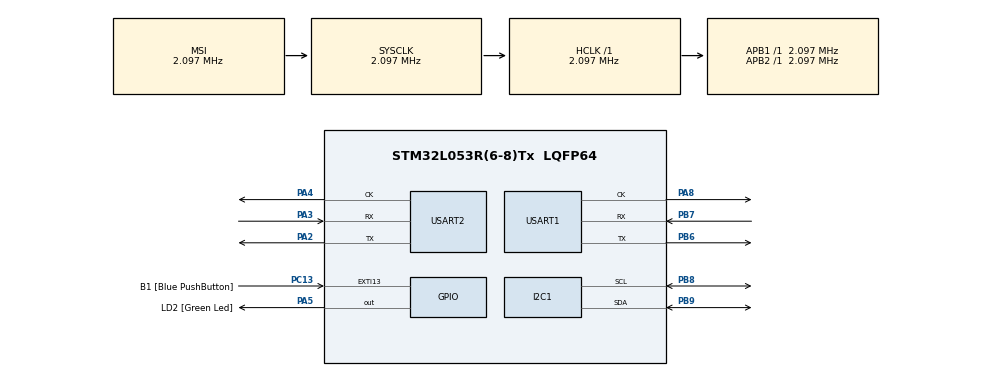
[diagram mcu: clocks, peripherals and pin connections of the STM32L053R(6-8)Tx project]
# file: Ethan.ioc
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Mcu.Family=STM32L0
RCC.MSI_VALUE=2097000
PC15-OSC32_OUT.Mode=LSE-External-Oscillator
PH0-OSC_IN.Signal=RCC_OSC_IN
PC13.Signal=GPXTI13
PA14.GPIO_Label=TCK
USART1.VirtualMode-Synchronous=VM_SYNC
PC13.GPIO_Label=B1 [Blue PushButton]
PC14-OSC32_IN.Signal=RCC_OSC32_IN
ProjectManager.StackSize=0x400
PA3.Mode=Synchronous
PA13.Signal=SYS_SWDIO
RCC.HSI16_VALUE=16000000
USART2.VirtualMode-Synchronous=VM_SYNC
PA4.Mode=Synchronous
ProjectManager.TargetToolchain=STM32CubeIDE
PB9.Mode=I2C
RCC.APB2TimFreq_Value=2097000
PB6.Signal=USART1_TX
PB6.Mode=Synchronous
PC15-OSC32_OUT.Signal=RCC_OSC32_OUT
RCC.AHBFreq_Value=2097000
PH0-OSC_IN.Mode=HSE-External-Clock-Source
PA5.Signal=GPIO_Output
RCC.HSE_VALUE=8000000
board=NUCLEO-L053R8
RCC.VCOOutputFreq_Value=48000000
RCC.APB2Freq_Value=2097000
PC14-OSC32_IN.Mode=LSE-External-Oscillator
PA14.Mode=Serial_Wire
PH1-OSC_OUT.Signal=RCC_OSC_OUT
PB7.Signal=USART1_RX
PA8.Signal=USART1_CK
PA13.Mode=Serial_Wire
Mcu.Name=STM32L053R(6-8)Tx
PA2.Signal=USART2_TX
PA13.GPIO_Label=TMS
PA4.Signal=USART2_CK
RCC.SYSCLKFreq_VALUE=2097000
Mcu.Package=LQFP64
PB9.Signal=I2C1_SDA
PA5.GPIO_Label=LD2 [Green Led]
PC13.GPIO_ModeDefaultEXTI=GPIO_MODE_IT_FALLING
PB7.Mode=Synchronous
PA14.Signal=SYS_SWCLK
ProjectManager.HeapSize=0x200
RCC.HSI_VALUE=16000000
PB8.Mode=I2C
RCC.APB1TimFreq_Value=2097000
PA2.Mode=Synchronous
PB8.Signal=I2C1_SCL
PA8.Mode=Synchronous
RCC.APB1Freq_Value=2097000
RCC.HSI48_VALUE=48000000
PA3.Signal=USART2_RX

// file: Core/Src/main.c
/* USER CODE BEGIN Header */
/**
  ******************************************************************************
  * @file           : main.c
  * @brief          : Main program body
  ******************************************************************************
  * @attention
  *
  * <h2><center>&copy; Copyright (c) 2021 STMicroelectronics.
  * All rights reserved.</center></h2>
  *
  * This software component is licensed by ST under BSD 3-Clause license,
  * the "License"; You may not use this file except in compliance with the
  * License. You may obtain a copy of the License at:
  *                        opensource.org/licenses/BSD-3-Clause
  *
  ******************************************************************************
  */
#include <icm20602_iic.h>
#include "string.h"
#include <stdint.h>
#include <stdio.h>
//#include "stm32l0xx_hal.h"

//#include <SparkFunBQ27441.h>

/* USER CODE END Header */
#include "main.h"

I2C_HandleTypeDef hi2c1;

USART_HandleTypeDef husart1;
USART_HandleTypeDef husart2;

void SystemClock_Config(void);
static void MX_GPIO_Init(void);
static void MX_I2C1_Init(void);
static void MX_USART2_Init(void);
static void MX_USART1_Init(void);

int main(void)
{

  /* MCU Configuration--------------------------------------------------------*/

  /* Reset of all peripherals, Initializes the Flash interface and the Systick. */
  HAL_Init();

  /* Configure the system clock */
  SystemClock_Config();

  /* Initialize all configured peripherals */
  MX_GPIO_Init();
  MX_I2C1_Init();
  MX_USART2_Init();
  MX_USART1_Init();

  /* Infinite loop */
  /* USER CODE BEGIN WHILE */

  //important address definitions
  uint16_t Main_ADDR = 0x55 << 1;
  uint16_t rem = 0x0C;
  uint16_t full = 0x0E;

  HAL_StatusTypeDef ret;
  HAL_StatusTypeDef ret2;

  uint8_t data[2];
  uint8_t data2[2];
  int bigbattery = 0;

    while (1)
    {
  	  ret = HAL_I2C_Mem_Read(&hi2c1, Main_ADDR, rem, I2C_MEMADD_SIZE_8BIT, data, 2, HAL_MAX_DELAY);
  	  ret2 = HAL_I2C_Mem_Read(&hi2c1, Main_ADDR, full, I2C_MEMADD_SIZE_8BIT, data2, 2, HAL_MAX_DELAY);

  	  if ( ret != HAL_OK || ret2 != HAL_OK ) {
  		  HAL_USART_Transmit(&husart1, (uint8_t *) " RECEIVE ERROR", strlen(" RECEIVE ERROR"), 100);
  	  }
  	  else {
  		  char integer[4] = {0,0,0,0}; //create an empty string to store number
  		  char decimal[4] = {0,0,0,0}; //create an empty string to store number
  		  uint16_t finalval = ((uint16_t) data[1] << 8) | data[0];
  		  uint16_t finalval2 = ((uint16_t) data2[1] << 8) | data2[0];
  		  bigbattery = 100000 * finalval / finalval2;
  	      sprintf(integer, "%d", bigbattery / 1000);
  	      sprintf(decimal, "%03d", bigbattery % 1000);
  		  HAL_USART_Transmit(&husart1, (uint8_t *) "BATTERY LEVEL: ", strlen("BATTERY LEVEL: "), 100);
  		  HAL_USART_Transmit(&husart1, &integer, 4, 100);
  		  HAL_USART_Transmit(&husart1, (uint8_t *) ".", strlen("."), 100);
  		  HAL_USART_Transmit(&husart1, &decimal, 4, 100);
  		  HAL_USART_Transmit(&husart1, (uint8_t *) "%\r\n", strlen("%\r\n"), 100);

  	  }
  	  if (ret == HAL_OK) {
  		  HAL_GPIO_TogglePin(GPIOA, GPIO_PIN_5);
  	  }
	  HAL_Delay(10000);
    /* USER CODE END WHILE */

  }
}

void SystemClock_Config(void)
{
  RCC_OscInitTypeDef RCC_OscInitStruct = {0};
  RCC_ClkInitTypeDef RCC_ClkInitStruct = {0};
  RCC_PeriphCLKInitTypeDef PeriphClkInit = {0};

  /** Configure the main internal regulator output voltage
  */
  __HAL_PWR_VOLTAGESCALING_CONFIG(PWR_REGULATOR_VOLTAGE_SCALE1);
  /** Initializes the RCC Oscillators according to the specified parameters
  * in the RCC_OscInitTypeDef structure.
  */
  RCC_OscInitStruct.OscillatorType = RCC_OSCILLATORTYPE_MSI;
  RCC_OscInitStruct.MSIState = RCC_MSI_ON;
  RCC_OscInitStruct.MSICalibrationValue = 0;
  RCC_OscInitStruct.MSIClockRange = RCC_MSIRANGE_5;
  RCC_OscInitStruct.PLL.PLLState = RCC_PLL_NONE;
  if (HAL_RCC_OscConfig(&RCC_OscInitStruct) != HAL_OK)
  {
    Error_Handler();
  }
  /** Initializes the CPU, AHB and APB buses clocks
  */
  RCC_ClkInitStruct.ClockType = RCC_CLOCKTYPE_HCLK|RCC_CLOCKTYPE_SYSCLK
                              |RCC_CLOCKTYPE_PCLK1|RCC_CLOCKTYPE_PCLK2;
  RCC_ClkInitStruct.SYSCLKSource = RCC_SYSCLKSOURCE_MSI;
  RCC_ClkInitStruct.AHBCLKDivider = RCC_SYSCLK_DIV1;
  RCC_ClkInitStruct.APB1CLKDivider = RCC_HCLK_DIV1;
  RCC_ClkInitStruct.APB2CLKDivider = RCC_HCLK_DIV1;

  if (HAL_RCC_ClockConfig(&RCC_ClkInitStruct, FLASH_LATENCY_0) != HAL_OK)
  {
    Error_Handler();
  }
  PeriphClkInit.PeriphClockSelection = RCC_PERIPHCLK_USART1|RCC_PERIPHCLK_USART2
                              |RCC_PERIPHCLK_I2C1;
  PeriphClkInit.Usart1ClockSelection = RCC_USART1CLKSOURCE_PCLK2;
  PeriphClkInit.Usart2ClockSelection = RCC_USART2CLKSOURCE_PCLK1;
  PeriphClkInit.I2c1ClockSelection = RCC_I2C1CLKSOURCE_PCLK1;
  if (HAL_RCCEx_PeriphCLKConfig(&PeriphClkInit) != HAL_OK)
  {
    Error_Handler();
  }
}

static void MX_I2C1_Init(void)
{

  hi2c1.Instance = I2C1;
  hi2c1.Init.Timing = 0x00000708;
  hi2c1.Init.OwnAddress1 = 0;
  hi2c1.Init.AddressingMode = I2C_ADDRESSINGMODE_7BIT;
  hi2c1.Init.DualAddressMode = I2C_DUALADDRESS_DISABLE;
  hi2c1.Init.OwnAddress2 = 0;
  hi2c1.Init.OwnAddress2Masks = I2C_OA2_NOMASK;
  hi2c1.Init.GeneralCallMode = I2C_GENERALCALL_DISABLE;
  hi2c1.Init.NoStretchMode = I2C_NOSTRETCH_DISABLE;
  if (HAL_I2C_Init(&hi2c1) != HAL_OK)
  {
    Error_Handler();
  }
  /** Configure Analogue filter
  */
  if (HAL_I2CEx_ConfigAnalogFilter(&hi2c1, I2C_ANALOGFILTER_ENABLE) != HAL_OK)
  {
    Error_Handler();
  }
  /** Configure Digital filter
  */
  if (HAL_I2CEx_ConfigDigitalFilter(&hi2c1, 0) != HAL_OK)
  {
    Error_Handler();
  }

}

static void MX_USART1_Init(void)
{

  husart1.Instance = USART1;
  husart1.Init.BaudRate = 115200;
  husart1.Init.WordLength = USART_WORDLENGTH_8B;
  husart1.Init.StopBits = USART_STOPBITS_1;
  husart1.Init.Parity = USART_PARITY_NONE;
  husart1.Init.Mode = USART_MODE_TX_RX;
  husart1.Init.CLKPolarity = USART_POLARITY_LOW;
  husart1.Init.CLKPhase = USART_PHASE_1EDGE;
  husart1.Init.CLKLastBit = USART_LASTBIT_DISABLE;
  if (HAL_USART_Init(&husart1) != HAL_OK)
  {
    Error_Handler();
  }

}

static void MX_USART2_Init(void)
{

  husart2.Instance = USART2;
  husart2.Init.BaudRate = 115200;
  husart2.Init.WordLength = USART_WORDLENGTH_8B;
  husart2.Init.StopBits = USART_STOPBITS_1;
  husart2.Init.Parity = USART_PARITY_NONE;
  husart2.Init.Mode = USART_MODE_TX_RX;
  husart2.Init.CLKPolarity = USART_POLARITY_LOW;
  husart2.Init.CLKPhase = USART_PHASE_1EDGE;
  husart2.Init.CLKLastBit = USART_LASTBIT_DISABLE;
  if (HAL_USART_Init(&husart2) != HAL_OK)
  {
    Error_Handler();
  }

}

static void MX_GPIO_Init(void)
{
  GPIO_InitTypeDef GPIO_InitStruct = {0};

  /* GPIO Ports Clock Enable */
  __HAL_RCC_GPIOC_CLK_ENABLE();
  __HAL_RCC_GPIOH_CLK_ENABLE();
  __HAL_RCC_GPIOA_CLK_ENABLE();
  __HAL_RCC_GPIOB_CLK_ENABLE();

  /*Configure GPIO pin Output Level */
  HAL_GPIO_WritePin(LD2_GPIO_Port, LD2_Pin, GPIO_PIN_RESET);

  /*Configure GPIO pin : B1_Pin */
  GPIO_InitStruct.Pin = B1_Pin;
  GPIO_InitStruct.Mode = GPIO_MODE_IT_FALLING;
  GPIO_InitStruct.Pull = GPIO_NOPULL;
  HAL_GPIO_Init(B1_GPIO_Port, &GPIO_InitStruct);

  /*Configure GPIO pin : LD2_Pin */
  GPIO_InitStruct.Pin = LD2_Pin;
  GPIO_InitStruct.Mode = GPIO_MODE_OUTPUT_PP;
  GPIO_InitStruct.Pull = GPIO_NOPULL;
  GPIO_InitStruct.Speed = GPIO_SPEED_FREQ_LOW;
  HAL_GPIO_Init(LD2_GPIO_Port, &GPIO_InitStruct);

}

/* USER CODE BEGIN 4 */

 /* USER CODE END 5 */

/* USER CODE BEGIN 4 */

/* USER CODE END 4 */

void Error_Handler(void)
{
  __disable_irq();
  while (1)
  {
  }
}

/************************ (C) COPYRIGHT STMicroelectronics *****END OF FILE****/
